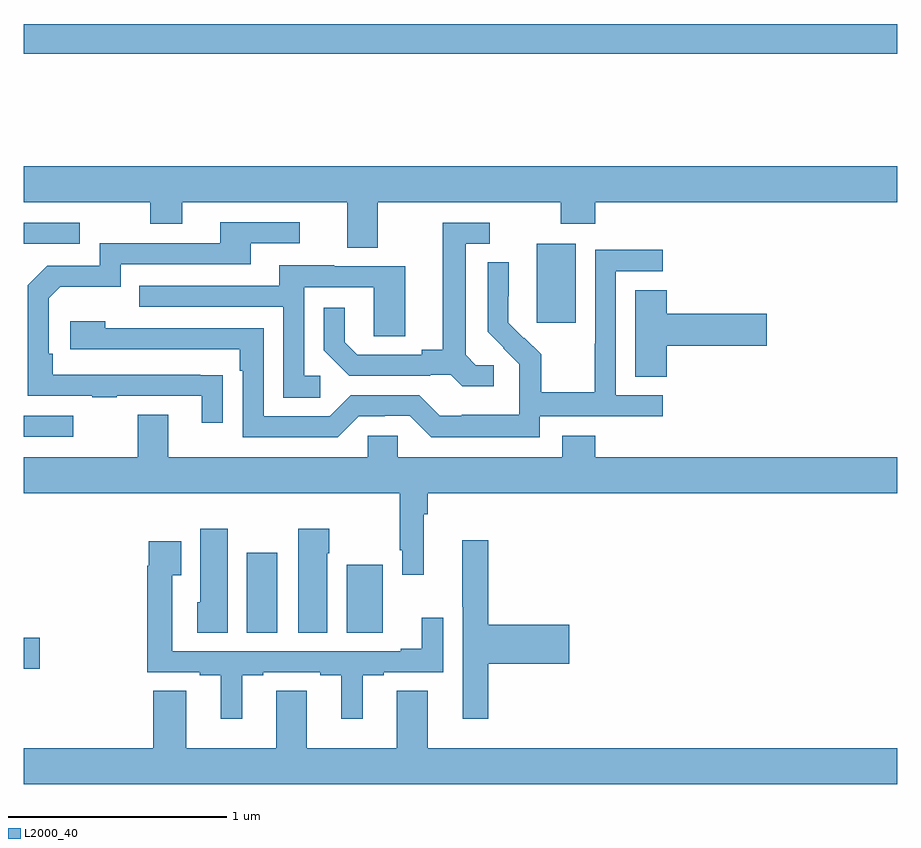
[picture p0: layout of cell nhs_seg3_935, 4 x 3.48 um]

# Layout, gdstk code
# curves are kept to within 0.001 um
import gdstk
lib = gdstk.Library(unit=1e-6, precision=1e-09)
def R(c, l, rs):  # rectangles x0, y0, x1, y1
    for r in rs: c.add(gdstk.rectangle(r[:2], r[2:], *l))
def P(c, l, *ps):  # polygons
    for p in ps: c.add(gdstk.Polygon(p, *l))
L2000_40 = (2000, 40)

nhs_seg3_935 = lib.new_cell('nhs_seg3_935')
R(nhs_seg3_935, L2000_40, [(159,713.431,159.073,713.573), (160.022,713.596,160.162,713.962), (160.478,713.596,160.645,713.908), (159,714.495,159.226,714.591), (161.348,715.017,161.527,715.378), (159,715.377,159.256,715.473), (159,716.248,163,716.384)])
P(nhs_seg3_935, L2000_40, [(160.621,715.568),(161.458,715.568),(161.458,715.469),(161.618,715.469),(161.618,715.568),(163,715.568),(163,715.732),(159,715.732),(159,715.568),(159.58,715.568),(159.58,715.469),(159.727,715.469),(159.727,715.568),(160.481,715.568),(160.481,715.36),(160.621,715.36)],
  [(159.911,714.776),(159.134,714.777),(159.134,714.874),(159.114,714.874),(159.114,715.128),(159.167,715.181),(159.444,715.181),(159.444,715.284),(160.039,715.284),(160.039,715.38),(160.264,715.38),(160.264,715.476),(159.899,715.476),(159.899,715.38),(159.348,715.38),(159.348,715.278),(159.108,715.278),(159.018,715.188),(159.018,714.681),(159.313,714.681),(159.313,714.676),(159.425,714.676),(159.425,714.681),(159.815,714.681),(159.815,714.558),(159.911,714.558)],
  [(161.152,714.822),(161.07,714.822),(161.023,714.869),(161.023,715.377),(161.134,715.377),(161.134,715.473),(160.919,715.473),(160.919,714.893),(160.823,714.893),(160.823,714.87),(160.528,714.87),(160.471,714.927),(160.471,715.084),(160.374,715.084),(160.374,714.89),(160.49,714.774),(160.862,714.774),(160.862,714.777),(160.956,714.777),(161.008,714.725),(161.152,714.725)],
  [(161.364,714.588),(161.926,714.588),(161.926,714.684),(161.712,714.684),(161.712,715.251),(161.926,715.251),(161.926,715.35),(161.616,715.35),(161.616,714.92),(161.614,714.92),(161.614,714.697),(161.369,714.697),(161.369,714.871),(161.292,714.948),(161.289,714.945),(161.219,715.016),(161.22,715.292),(161.124,715.292),(161.124,714.974),(161.27,714.826),(161.27,714.729),(161.268,714.729),(161.268,714.595),(161.005,714.595),(161.005,714.591),(160.905,714.591),(160.812,714.684),(160.497,714.684),(160.401,714.588),(160.098,714.588),(160.098,714.99),(159.374,714.99),(159.374,715.024),(159.213,715.024),(159.213,714.894),(159.989,714.894),(159.989,714.797),(160.002,714.797),(160.002,714.492),(160.437,714.492),(160.533,714.588),(160.652,714.588),(160.652,714.591),(160.767,714.591),(160.867,714.491),(161.364,714.491)],
  [(160.357,714.774),(160.284,714.774),(160.284,715.179),(160.602,715.179),(160.602,714.955),(160.747,714.955),(160.747,715.275),(160.423,715.275),(160.423,715.279),(160.169,715.279),(160.169,715.185),(159.529,715.185),(159.529,715.089),(160.188,715.089),(160.188,714.673),(160.357,714.673)],
  [(161.945,714.911),(162.403,714.911),(162.403,715.058),(161.945,715.058),(161.945,715.166),(161.801,715.166),(161.801,714.769),(161.945,714.769)],
  [(160.832,714.14),(160.85,714.14),(160.85,714.236),(163,714.236),(163,714.4),(161.618,714.4),(161.618,714.499),(161.465,714.499),(161.465,714.4),(160.713,714.4),(160.713,714.498),(160.575,714.498),(160.575,714.4),(159.661,714.4),(159.661,714.595),(159.521,714.595),(159.521,714.4),(159,714.4),(159,714.236),(160.722,714.236),(160.722,713.974),(160.734,713.974),(160.734,713.862),(160.832,713.862)],
  [(159.934,714.073),(159.809,714.073),(159.809,713.736),(159.794,713.736),(159.794,713.596),(159.934,713.596)],
  [(160.39,713.96),(160.398,713.96),(160.398,714.073),(160.256,714.073),(160.256,713.596),(160.39,713.596)],
  [(161.126,713.455),(161.497,713.455),(161.497,713.633),(161.126,713.633),(161.126,714.019),(161.009,714.019),(161.009,713.716),(161.01,713.716),(161.01,713.202),(161.126,713.202)],
  [(160,713.403),(160.096,713.403),(160.096,713.415),(160.358,713.415),(160.358,713.403),(160.454,713.403),(160.454,713.202),(160.552,713.202),(160.552,713.403),(160.648,713.403),(160.648,713.415),(160.92,713.415),(160.92,713.665),(160.823,713.665),(160.823,713.524),(160.727,713.524),(160.727,713.511),(159.681,713.511),(159.681,713.86),(159.721,713.86),(159.721,714.016),(159.573,714.016),(159.573,713.903),(159.565,713.903),(159.565,713.415),(159.806,713.415),(159.806,713.403),(159.902,713.403),(159.902,713.202),(160,713.202)],
  [(163,713.068),(160.849,713.068),(160.849,713.33),(160.709,713.33),(160.709,713.068),(160.297,713.068),(160.297,713.33),(160.157,713.33),(160.157,713.068),(159.745,713.068),(159.745,713.33),(159.593,713.33),(159.593,713.068),(159,713.068),(159,712.904),(163,712.904)])

lib.write_gds('nhs_seg3_935.gds')
